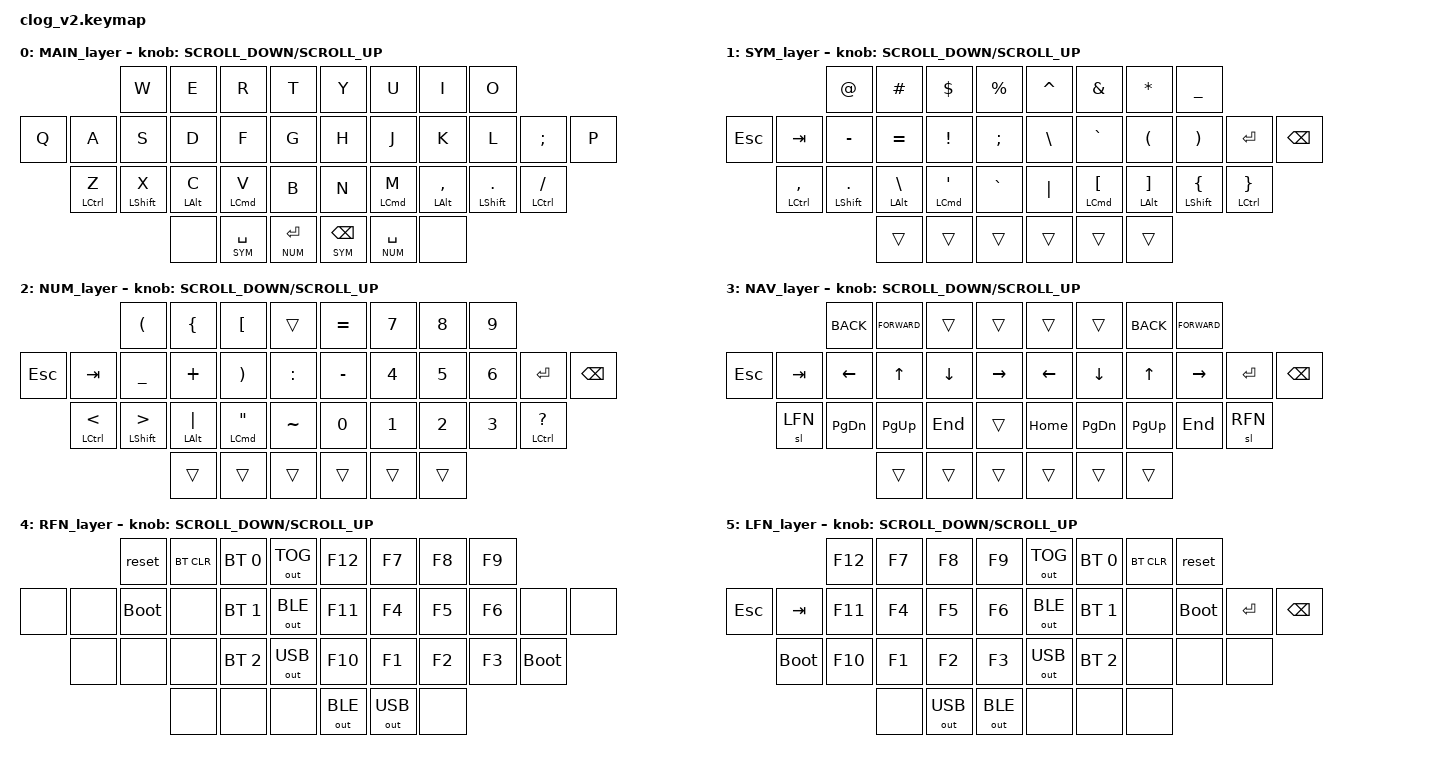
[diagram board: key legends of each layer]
#include <behaviors.dtsi>
#include <dt-bindings/zmk/keys.h>
#include <dt-bindings/zmk/bt.h>
#include <dt-bindings/zmk/outputs.h>

#define MAIN 0
#define SYM 1
#define NUM 2
#define NAV 3
#define RFN 4
#define LFN 5

&mt {
    flavor = "tap-preferred";
    tapping_term_ms = <250>;
};

/ {
    behaviors {
        hm: homerow_mods {
            compatible = "zmk,behavior-hold-tap";
            label = "HOMEROW_MODS";
            #binding-cells = <2>;
            tapping-term-ms = <150>;
            quick-tap-ms = <0>;
            flavor = "tap-preferred";
            bindings = <&kp>, <&kp>;
        };
    };

    conditional_layers {
        compatible = "zmk,conditional-layers";
        tri_layer {
            if-layers = <SYM NUM>;
            then-layer = <NAV>;
        };
    };

    keymap {
        compatible = "zmk,keymap";

        MAIN_layer {
            bindings = <
                              &kp W        &kp E      &kp R         &kp T         /*    */ &kp Y             &kp U         &kp I          &kp O
            &kp Q &kp A       &kp S        &kp D      &kp F         &kp G         /*    */ &kp H             &kp J         &kp K          &kp L          &kp SEMI         &kp P
                  &hm LCTRL Z &hm LSHIFT X &hm LALT C &hm LCMD V    &kp B         /*    */ &kp N             &hm LCMD M    &hm LALT COMMA &hm LSHIFT DOT &hm LCTRL SLASH
                                           &none      &lt SYM SPACE &lt NUM ENTER /*    */ &lt SYM BACKSPACE &lt NUM SPACE &none
            >;

            sensor-bindings = <&inc_dec_kp K_SCROLL_DOWN K_SCROLL_UP>;
        };

        SYM_layer {
            bindings = <
                                    &kp AT_SIGN    &kp HASH      &kp DOLLAR   &kp PERCENT /*    */ &kp CARET &kp AMPERSAND &kp ASTERISK  &kp UNDERSCORE
            &kp ESC &kp TAB         &kp MINUS      &kp EQUAL     &kp EXCL     &kp SEMI    /*    */ &kp BSLH  &kp GRAVE     &kp LPAR      &kp RPAR        &kp ENTER       &kp BACKSPACE
                    &hm LCTRL COMMA &hm LSHIFT DOT &hm LALT BSLH &hm LCMD SQT &kp GRAVE   /*    */ &kp PIPE  &hm LCMD LBKT &hm LALT RBKT &hm LSHIFT LBRC &hm LCTRL RBRC
                                                   &trans        &trans       &trans      /*    */ &trans    &trans        &trans
            >;

            sensor-bindings = <&inc_dec_kp K_SCROLL_DOWN K_SCROLL_UP>;
        };

        NUM_layer {
            bindings = <
                                   &kp LPAR      &kp LBRC      &kp LBKT     &trans    /*    */ &kp EQUAL &kp N7  &kp N8 &kp N9
            &kp ESC  &kp TAB       &kp UNDER     &kp PLUS      &kp RPAR     &kp COLON /*    */ &kp MINUS &kp N4  &kp N5 &kp N6 &kp ENTER        &kp BACKSPACE
                     &hm LCTRL LT  &hm LSHIFT GT &hm LALT PIPE &hm LCMD DQT &kp TILDE /*    */ &kp N0    &kp N1  &kp N2 &kp N3 &hm LCTRL QMARK
                                                 &trans        &trans       &trans    /*    */ &trans    &trans  &trans
            >;

            sensor-bindings = <&inc_dec_kp K_SCROLL_DOWN K_SCROLL_UP>;
        };

        NAV_layer {
            bindings = <
                            &kp K_BACK &kp K_FORWARD &trans   &trans    /*    */ &trans   &trans    &kp K_BACK &kp K_FORWARD
            &kp ESC &kp TAB &kp LEFT   &kp UP        &kp DOWN &kp RIGHT /*    */ &kp LEFT &kp DOWN  &kp UP     &kp RIGHT &kp ENTER &kp BACKSPACE
                    &sl LFN &kp PG_DN  &kp PG_UP     &kp END  &trans    /*    */ &kp HOME &kp PG_DN &kp PG_UP  &kp END   &sl RFN
                                       &trans        &trans   &trans    /*    */ &trans   &trans    &trans
            >;

            sensor-bindings = <&inc_dec_kp K_SCROLL_DOWN K_SCROLL_UP>;
        };

        RFN_layer {
            bindings = <
                            &reset       &bt BT_CLR   &bt BT_SEL 0  &out OUT_TOG /*    */ &kp F12      &kp F7       &kp F8 &kp F9
            &none   &none   &bootloader  &none        &bt BT_SEL 1  &out OUT_BLE /*    */ &kp F11      &kp F4       &kp F5 &kp F6 &none       &none
                    &none   &none        &none        &bt BT_SEL 2  &out OUT_USB /*    */ &kp F10      &kp F1       &kp F2 &kp F3 &bootloader
                                         &none        &none         &none        /*    */ &out OUT_BLE &out OUT_USB &none
            >;

            sensor-bindings = <&inc_dec_kp K_SCROLL_DOWN K_SCROLL_UP>;
        };

        LFN_layer {
            bindings = <
                                  &kp F12  &kp F7       &kp F8       &kp F9       /*    */ &out OUT_TOG &bt BT_SEL 0  &bt BT_CLR &reset
            &kp ESC &kp TAB       &kp F11  &kp F4       &kp F5       &kp F6       /*    */ &out OUT_BLE &bt BT_SEL 1  &none      &bootloader  &kp ENTER &kp BACKSPACE
                    &bootloader   &kp F10  &kp F1       &kp F2       &kp F3       /*    */ &out OUT_USB &bt BT_SEL 2  &none      &none        &none
                                           &none        &out OUT_USB &out OUT_BLE /*    */ &none        &none         &none 
            >;

            sensor-bindings = <&inc_dec_kp K_SCROLL_DOWN K_SCROLL_UP>;
        };
    };
};
